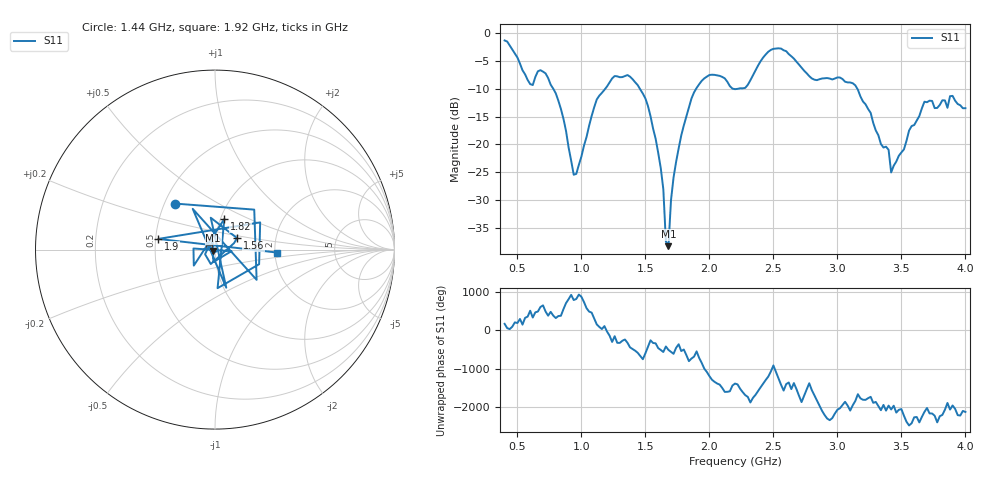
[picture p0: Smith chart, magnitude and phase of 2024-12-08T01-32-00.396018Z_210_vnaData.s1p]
!Created with skrf (http://scikit-rf.org).
# Hz S RI R 50.0
!freq ReS11 ImS11
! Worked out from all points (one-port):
!   181 points, 400 MHz to 4 GHz, reference 50 ohm
!   lowest |S11| = -38.3 dB at 1.68 GHz (marker M1), VSWR 1.02, Z = 48.9 - j0.542 ohm
!   |S11| at or under -10 dB: 780.7 MHz to 1.186 GHz (405.1 MHz wide, 41.2 % of centre); 1.457 GHz to 1.896 GHz (439.1 MHz wide, 26.2 % of centre); 3.156 GHz to end of sweep (the widest 3 of 4)
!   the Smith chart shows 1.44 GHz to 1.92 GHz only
!   S11 on the Smith chart (normalised r, x): 1.44 GHz: 0.56, +0.33; 1.56 GHz: 1.27, +0.17; 1.82 GHz: 1.04, +0.37; 1.9 GHz: 0.52, +0.07; 1.92 GHz: 2.06, -0.08
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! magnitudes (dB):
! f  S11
! 400 MHz  -1.3
! 600 MHz  -9.2
! 720 MHz  -7.2
! 860 MHz  -15.4
! 960 MHz  -25.3
! 1.12 GHz  -11.9
! 1.3 GHz  -7.9
! 1.44 GHz  -9.3
! 1.56 GHz  -17.2
! 1.62 GHz  -24.3
! 1.64 GHz  -28.1
! 1.66 GHz  -37.5
! 1.68 GHz  -38.3
! 1.7 GHz  -30.1
! 1.76 GHz  -20.7
! 1.82 GHz  -15.0
! 1.9 GHz  -9.8
! 1.92 GHz  -9.2
! 2.2 GHz  -10.1
! 2.48 GHz  -3.0
! 2.66 GHz  -4.5
! 2.82 GHz  -8.3
! 3.1 GHz  -8.9
! 3.4 GHz  -21.0
! 3.42 GHz  -25.1
! 3.56 GHz  -17.5
! 3.68 GHz  -12.3
! 4 GHz  -13.5
